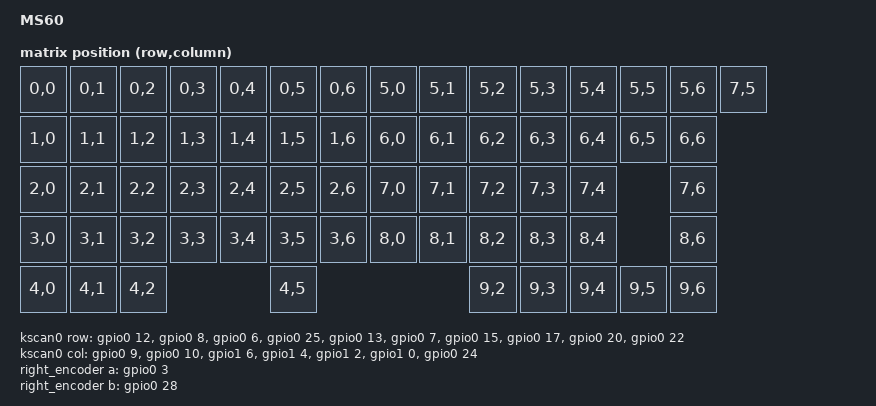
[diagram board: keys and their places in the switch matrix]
/*
 * Copyright (c) 2021 Nick Winans
 *
 * SPDX-License-Identifier: MIT
 */

/dts-v1/;
#include <nordic/nrf52833_qiaa.dtsi>

#include <dt-bindings/led/led.h>
#include <dt-bindings/zmk/matrix_transform.h>

/ {
	model = "MS60";
	compatible = "mystery60,ms60";

	chosen {
		zephyr,code-partition = &code_partition;
		zephyr,sram = &sram0;
		zephyr,flash = &flash0;
		zephyr,console = &cdc_acm_uart;
		zmk,battery = &vbatt;
		zmk,kscan = &kscan0;
		zmk,matrix_transform = &default_transform;
		zmk,underglow = &led_strip;
	};

	default_transform: keymap_transform_0 {
		compatible = "zmk,matrix-transform";
		columns = <7>;
		rows = <10>;
		map = <
                RC(0,0) RC(0,1) RC(0,2) RC(0,3) RC(0,4) RC(0,5) RC(0,6) RC(5,0) RC(5,1) RC(5,2) RC(5,3) RC(5,4) RC(5,5) RC(5,6) RC(7,5)
                RC(1,0) RC(1,1) RC(1,2) RC(1,3) RC(1,4) RC(1,5) RC(1,6) RC(6,0) RC(6,1) RC(6,2) RC(6,3) RC(6,4) RC(6,5) RC(6,6)
                RC(2,0) RC(2,1) RC(2,2) RC(2,3) RC(2,4) RC(2,5) RC(2,6) RC(7,0) RC(7,1) RC(7,2) RC(7,3) RC(7,4)         RC(7,6)
                RC(3,0) RC(3,1) RC(3,2) RC(3,3) RC(3,4) RC(3,5) RC(3,6) RC(8,0) RC(8,1) RC(8,2) RC(8,3) RC(8,4)         RC(8,6)
                RC(4,0) RC(4,1) RC(4,2)                 RC(4,5)                         RC(9,2) RC(9,3) RC(9,4) RC(9,5) RC(9,6)

		>;
	};

	kscan0: kscan {
		compatible = "zmk,kscan-gpio-matrix";
		label = "KSCAN";

		diode-direction = "col2row";
		row-gpios
			= <&gpio0 12 (GPIO_ACTIVE_HIGH | GPIO_PULL_DOWN)>
			, <&gpio0 8  (GPIO_ACTIVE_HIGH | GPIO_PULL_DOWN)>
			, <&gpio0 6  (GPIO_ACTIVE_HIGH | GPIO_PULL_DOWN)>
			, <&gpio0 25 (GPIO_ACTIVE_HIGH | GPIO_PULL_DOWN)>
			, <&gpio0 13 (GPIO_ACTIVE_HIGH | GPIO_PULL_DOWN)>
            , <&gpio0 7  (GPIO_ACTIVE_HIGH | GPIO_PULL_DOWN)>
            , <&gpio0 15 (GPIO_ACTIVE_HIGH | GPIO_PULL_DOWN)>
            , <&gpio0 17 (GPIO_ACTIVE_HIGH | GPIO_PULL_DOWN)>
            , <&gpio0 20 (GPIO_ACTIVE_HIGH | GPIO_PULL_DOWN)>
            , <&gpio0 22 (GPIO_ACTIVE_HIGH | GPIO_PULL_DOWN)>
			;
		col-gpios
			= <&gpio0 9  GPIO_ACTIVE_HIGH>
			, <&gpio0 10 GPIO_ACTIVE_HIGH>
			, <&gpio1 6  GPIO_ACTIVE_HIGH>
			, <&gpio1 4  GPIO_ACTIVE_HIGH>
			, <&gpio1 2  GPIO_ACTIVE_HIGH>
			, <&gpio1 0  GPIO_ACTIVE_HIGH>
			, <&gpio0 24 GPIO_ACTIVE_HIGH>
			;
	};

	sensors {
		compatible = "zmk,keymap-sensors";
		sensors = <&right_encoder>;
	};

	right_encoder: encoder_right {
		compatible = "alps,ec11";
		label = "RIGHT_ENCODER";
		a-gpios = <&gpio0 3  (GPIO_ACTIVE_HIGH | GPIO_PULL_UP)>;
		b-gpios = <&gpio0 28 (GPIO_ACTIVE_HIGH | GPIO_PULL_UP)>;
		resolution = <4>;
		status = "okay";
	};

	leds {
		compatible = "gpio-leds";
		blue_led: led_0 {
			gpios = <&gpio1 5 GPIO_ACTIVE_HIGH>;
			label = "Blue LED";
		};
	};

	ext-power {
		compatible = "zmk,ext-power-generic";
		label = "EXT_POWER";
		control-gpios = <&gpio0 5 GPIO_ACTIVE_LOW>;
	};

	vbatt: vbatt {
		compatible = "zmk,battery-voltage-divider";
		label = "BATTERY";
		io-channels = <&adc 2>;
		output-ohms = <2000000>;
		full-ohms = <(2000000 + 806000)>;
	};
};

&adc {
	status = "okay";
};

&gpiote {
	status = "okay";
};

&gpio0 {
	status = "okay";
};

&gpio1 {
	status = "okay";
};


&spi0 {
	compatible = "nordic,nrf-spim";
	/* Cannot be used together with i2c0. */
	status = "okay";
	mosi-pin = <26>;
	sck-pin = <31>;
	miso-pin = <30>;

	led_strip: ws2812@0 {
		compatible = "worldsemi,ws2812-spi";
		label = "WS2812";

		/* SPI */
		reg = <0>; /* ignored, but necessary for SPI bindings */
		spi-max-frequency = <4000000>;

		/* WS2812 */
		chain-length = <31>; /* LED strip length */
		spi-one-frame = <0x70>;
		spi-zero-frame = <0x40>;
		color-mapping = <LED_COLOR_ID_GREEN LED_COLOR_ID_RED LED_COLOR_ID_BLUE>;
	};
};

&usbd {
	status = "okay";
	cdc_acm_uart: cdc_acm_uart {
		compatible = "zephyr,cdc-acm-uart";
		label = "CDC_ACM_0";
	};
};

&flash0 {
	/*
	 * For more information, see:
	 * http://docs.zephyrproject.org/latest/devices/dts/flash_partitions.html
	 */
	partitions {
		compatible = "fixed-partitions";
		#address-cells = <1>;
		#size-cells = <1>;

		sd_partition: partition@0 {
			label = "softdevice";
			reg = <0x00000000 0x00026000>;
		};
		code_partition: partition@26000 {
			label = "code_partition";
			reg = <0x00026000 0x00046000>;
		};

		/*
		 * The flash starting at 0x0006c000 and ending at
		 * 0x00073fff is reserved for use by the application.
		 */

		/*
		 * Storage partition will be used by FCB/LittleFS/NVS
		 * if enabled.
		 */
		storage_partition: partition@6c000 {
			label = "storage";
			reg = <0x0006c000 0x00008000>;
		};

		boot_partition: partition@74000 {
			label = "adafruit_boot";
			reg = <0x00074000 0x0000c000>;
		};
	};
};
